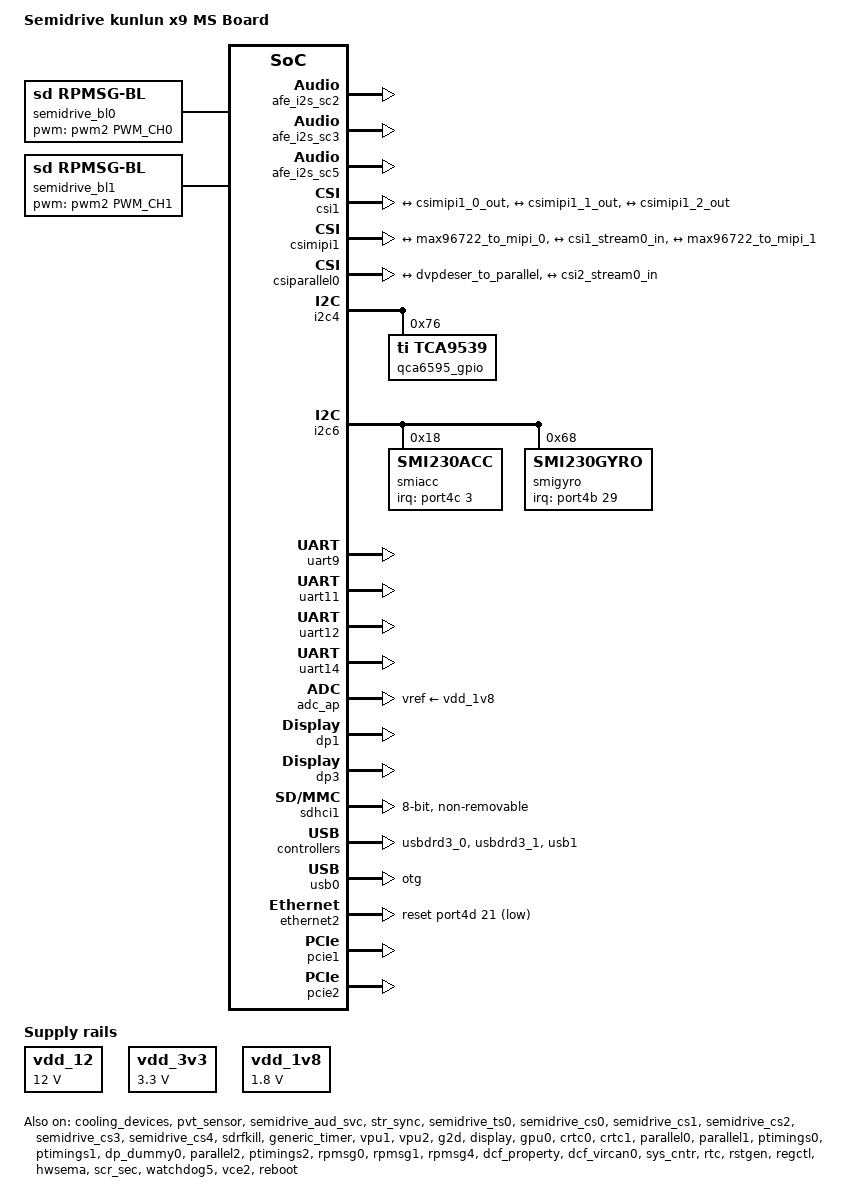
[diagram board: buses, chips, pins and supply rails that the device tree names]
/*
 * Semidrive kunlun platform DTS file
 *
 * Copyright (C) 2019, Semidrive  Communications Inc.
 *
 * This file is licensed under a dual GPLv2 or X11 license.
 */

/dts-v1/;

#include "x9_high-plus_ecockpitV2.dtsi"
#include "x9_high-plus_ms_ivi-clk-ctrl.dtsi"
#include "lcd-timings.dtsi"
#include <dt-bindings/pinctrl/pins-sdx9.h>
#include <dt-bindings/memmap/x9_high-plus/projects/ms_serdes/image_cfg.h>
#include <dt-bindings/memory/sdrv_ion.h>
#include <dt-bindings/rpmsg/sd,x9hp-ap1.h>
#include "x9-service.dtsi"
#include <dt-bindings/backlight/sdrv_backlight.h>
#include <dt-bindings/media/sdrv_csi.h>
#include <dt-bindings/memmap/mem_share.h>

/ {
	model = "Semidrive kunlun x9 MS Board";

	compatible = "semidrive,kunlun";compatibel

	aliases {
		serial0 = &uart14;
		serial1 = &uart11;
		serial2 = &uart12;
		ethernet2 = &ethernet2;
	};

	memory@50000000 {
		device_type = "memory";
		reg = <HIGH32(AP1_REE_MEMBASE + DTB_MEMSIZE) LOW32(AP1_REE_MEMBASE + DTB_MEMSIZE) HIGH32(AP1_KERNEL_MEMSIZE) LOW32(AP1_KERNEL_MEMSIZE) \
		       HIGH32(AP1_2ND_MEMBASE) LOW32(AP1_2ND_MEMBASE) HIGH32(AP1_2ND_MEMSIZE) LOW32(AP1_2ND_MEMSIZE) \
                       HIGH32(AP2_IMAGES_MEMBASE) LOW32(AP2_IMAGES_MEMBASE) HIGH32(AP2_IMAGES_MEMSIZE) LOW32(AP2_IMAGES_MEMSIZE)>;
	};

	reserved-memory {
		#address-cells = <2>;
		#size-cells = <2>;
		ranges;

		crashdump {
			/* reserve preloader mem for crashdump */
			compatibel = "crashdump";
			reg = <HIGH32(AP1_PRELOADER_MEMBASE) LOW32(AP1_PRELOADER_MEMBASE) 0 AP1_PRELOADER_MEMSIZE>;
		};

		ramoops {
			compatible = "ramoops";
			reg = <HIGH32(AP1_BOARD_RAMDISK_MEMBASE + AP1_BOARD_RAMDISK_MEMSIZE + 0x1000000)
				LOW32(AP1_BOARD_RAMDISK_MEMBASE + AP1_BOARD_RAMDISK_MEMSIZE + 0x1000000) 0x0 0x100000>;
			record-size = <0x60000>;
			console-size = <0x40000>;
			ftrace-size = <0x20000>;
			pmsg-size = <0x40000>;
		};

		/* Default Common CMA Pool */
		/* QUIRK: Must be kept in the lower 4096 MiBs of DRAM banks for VE */
		linux,cma {
			compatible = "shared-dma-pool";
			reusable;
			size = <0x0 AP1_CMASIZE>; /* 1G */
			/* 4GB maximum in case of 32-bit only capable devices */
			alloc-ranges = <0x0 0x0 0x0 0xffffffff>;
			linux,cma-default;
		};

		rproc_0_safety: rproc@0 {
			compatible = "shared-dma-pool";
			no-map;
			reg = <0x0 RPMSG0_MEM_POOL_BASE 0x0 RPMSG0_MEM_POOL_SIZE>;
		};

		rproc_1_secure: rproc@1 {
			compatible = "shared-dma-pool";
			no-map;
			reg = <0x0 RPMSG1_MEM_POOL_BASE 0x0 RPMSG1_MEM_POOL_SIZE>;
		};

		rproc_ap: rproc@4 {
			compatible = "shared-dma-pool";
			no-map;
			reg = <0x0 RPMSG3_MEM_POOL_BASE 0x0 RPMSG3_MEM_POOL_SIZE>;
		};

	};

	chosen {
		bootargs = "root=/dev/ram0 rootfstype=ramfs highres=1  earlycon loglevel=4 console=ttyS0,115200n8 fbcon=map:1 nr_cpus=6 androidboot.mode=normal androidboot.selinux=permissive androidboot.debuggable=1 androidboot.dm_verity=disable androidboot.vdsp=disable psplash=false init=/init logbuf.console=ap1";
		stdout-path = "serial0";
		linux,initrd-start = <AP1_BOARD_RAMDISK_MEMBASE>;
		linux,initrd-end   = <AP1_BOARD_RAMDISK_MEMSIZE>;
	};

	vdd_12: fixed-vdd_12 {
		compatible = "regulator-fixed";
		regulator-name = "vdd_12v";
		regulator-min-microvolt = <12000000>;
		regulator-max-microvolt = <12000000>;
	};

	vdd_3v3: fixed-vdd_3v3 {
		compatible = "regulator-fixed";
		regulator-name = "vdd_3v3";
		regulator-min-microvolt = <3300000>;
		regulator-max-microvolt = <3300000>;
	};

	vdd_1v8: fixed-vdd_1v8 {
		compatible = "regulator-fixed";
		regulator-name = "vdd_1v8";
		regulator-min-microvolt = <1800000>;
		regulator-max-microvolt = <1800000>;
	};

//	sound_ak7738: sound@ak7738 {
//		compatible = "semidrive,x9-ms-mach";
//		status = "okay";
//	};
	sound_saf776d: sound@saf776d {
		compatible = "semidrive,x9-ms-mach";
		status = "okay";
	};

	sound_tlv320aic23: sound@tlv320aic23 {
		compatible = "semidrive,x9-ref-tlv320aic23";
		semidrive,audio-codec = <&tlv320aic23_ms>;
		semidrive,afe-i2s = <&afe_i2s_sc2>;
		semidrive,jack-gpio = <&port4b 29 0>; //SOC_GPIO_C13_HP_DET
		status = "disabled";
	};

	semidrive_bl0: panel0-backlight {
		compatible = "sd,rpmsg-bl"; /*"sd,rpmsg-bl" for rpmsg; "pwm-backlight" for native*/
		bl_screen-id = /bits/ 32 <0>;
	//	bl_screen-id = /bits/ 32 <1>;
		pwms = <&pwm2 PWM_CH0 PWM_FREQUENCY PWM_POLARITY_INVERSED>;
		brightness-levels = <0 1 2 3 4 5 6 7 8 9 10 11 12 13 14 15 16
							 17 18 19 20 21 22 23 24 25 26 27 28 29 30
							 31 32 33 34 35 36 37 38 39 40 41 42 43 44
							 45 46 47 48 49 50 51 52 53 54 55 56 57 58
							 59 60 61 62 63 64 65 66 67 68 69 70 71 72
							 73 74 75 76 77 78 79 80 81 82 83 84 85 86
							 87 88 89 90 91 92 93 94 95 96 97 98 99 100>;
		default-brightness-level = <70>;
		status = "okay";
	};

	semidrive_bl1: panel1-backlight {
		compatible = "sd,rpmsg-bl"; /*"sd,rpmsg-bl" for rpmsg; "pwm-backlight" for native*/
		bl_screen-id = /bits/ 32 <1>;
	//	bl_screen-id = /bits/ 32 <2>;
		pwms = <&pwm2 PWM_CH1 PWM_FREQUENCY PWM_POLARITY_INVERSED>;
		brightness-levels = <0 1 2 3 4 5 6 7 8 9 10 11 12 13 14 15 16
							 17 18 19 20 21 22 23 24 25 26 27 28 29 30
							 31 32 33 34 35 36 37 38 39 40 41 42 43 44
							 45 46 47 48 49 50 51 52 53 54 55 56 57 58
							 59 60 61 62 63 64 65 66 67 68 69 70 71 72
							 73 74 75 76 77 78 79 80 81 82 83 84 85 86
							 87 88 89 90 91 92 93 94 95 96 97 98 99 100>;
		default-brightness-level = <70>;
		status = "okay";
	};

	str_power_key: str_power_key {
		compatible = "sd,str-power-key";
		reg = <0x0 (SAF_AP1_MEMBASE+0x10000000+0x100000) 0x0 0x1000>;
		status = "okay";
	};

	logbuf {
		compatible = "semidrive, logbuf";
		reg = <0x0 (SEC_MEMBASE + 0x10000000) 0x0 0x200000>;
		regctl = <&regctl SDRV_REG_EXCEPTION>;
		status = "okay";
	};
};

&cooling_devices {
	status = "okay";
};

&pvt_sensor {
	status = "okay";
};

&semidrive_aud_svc {
	major = <91>;
	status = "okay";
};

&pwm2 {
	sd,playback-num-chan = <2>;
	#pwm-cells = <3>;
	status = "disabled";
};

&str_sync {
	host = <1>;
	status = "okay";
};

&semidrive_ts0 {
	status = "okay";
};
&semidrive_ts1 {
	status = "disabled";
};

&semidrive_cs0 {
	dev_id = /bits/ 16 <0>;
	status = "okay";
};

&semidrive_cs1 {
	dev_id = /bits/ 16 <1>;
	status = "okay";
};

&semidrive_cs2 {
	dev_id = /bits/ 16 <2>;
	status = "okay";
};

&semidrive_cs3 {
	dev_id = /bits/ 16 <3>;
	status = "okay";
};

&semidrive_cs4 {
	dev_id = /bits/ 16 <8>;
	status = "okay";
};

&dmac4 {
	status = "okay";
};

&dmac5 {
	status = "okay";
};

&dmac6 {
	status = "okay";
};

&afe_i2s_sc2{
	dmas = <&dmac4 X9_DMA_SLV_ID_I2S_SC3_TX>, <&dmac4 X9_DMA_SLV_ID_I2S_SC3_RX>;
	dma-names = "tx", "rx";
	status = "okay";
};

&afe_i2s_sc3{
	dmas = <&dmac4 X9_DMA_SLV_ID_I2S_SC4_TX>, <&dmac4 X9_DMA_SLV_ID_I2S_SC4_RX>;
	dma-names = "tx", "rx";
	sdrv,tdm-use-rx-last-slot;
	status = "okay";
};

&afe_i2s_sc5{
	dmas = <&dmac4 X9_DMA_SLV_ID_I2S_SC6_TX>, <&dmac4 X9_DMA_SLV_ID_I2S_SC6_RX>;
	dma-names = "tx", "rx";
	status = "okay";
};
/*
&afe_i2s_sc7{
	dmas = <&dmac4 X9_DMA_SLV_ID_I2S_SC8_TX>, <&dmac4 X9_DMA_SLV_ID_I2S_SC8_RX>;
	dma-names = "tx", "rx";
	status = "okay";
};
*/
&rfkill {
	bt_en = <&port4c 12 0>;
};

&sdrfkill {
        bluetooth-en-gpio = <&qca6595_gpio 3 GPIO_ACTIVE_HIGH>;
        wlan-en-gpio = <&qca6595_gpio 0 GPIO_ACTIVE_HIGH>;

        status = "okay";
};

&csi1 {
	mbus-type = "mipi-csi2";
	pclk-sample = <1>;
	status = "okay";
	skip_frame = <4>;
	ports {
		csi1_stream0: port@0 {
			csi1_stream0_in: endpoint@0 {
				remote-endpoint = <&csimipi1_0_out>;
			};
		};
		csi1_stream1: port@1 {
			csi1_stream1_in: endpoint@0 {
				remote-endpoint = <&csimipi1_1_out>;
			};
		};
		csi1_stream2: port@2 {
			csi1_stream2_in: endpoint@0 {
				remote-endpoint = <&csimipi1_2_out>;
			};
		};
		csi1_stream3: port@3 {
			csi1_stream3_in: endpoint@0 {
				remote-endpoint = <&csimipi1_3_out>;
			};
		};
	};
};
&csi2 {
	mbus-type = "parallel";
	pclk-sample = <0>;
	status = "disabled";

	ports {
		csi2_stream0: port@0 {
			csi2_stream0_in: endpoint@0 {
				remote-endpoint = <&csiparalle0_out>;
			};
		};

	};
};

&csimipi1 {
	status = "okay";
	lanerate = <1500000000>;
	lanecount = <4>;
	hsa = <10>;
	hbp = <20>;
	hsd = <0x60>;
	output-type = <0x1e>;

	ports {
		#address-cells = <1>;
		#size-cells = <0>;

		port@0 {
			#address-cells = <1>;
			#size-cells = <0>;
			reg = <0>;
			csimipi1_0_in: endpoint@0 {
				remote-endpoint = <&max96722_to_mipi_0>;
				reg = <0>;
			};
			csimipi1_0_out: endpoint@1 {
				remote-endpoint = <&csi1_stream0_in>;
				reg = <0>;
			};
		};
		port@1 {
			#address-cells = <1>;
			#size-cells = <0>;
			reg = <1>;
			csimipi1_1_in: endpoint@0 {
				remote-endpoint = <&max96722_to_mipi_1>;
				reg = <1>;
			};
			csimipi1_1_out: endpoint@1 {
				remote-endpoint = <&csi1_stream1_in>;
				reg = <1>;
			};
		};
		port@2 {
			#address-cells = <1>;
			#size-cells = <0>;
			reg = <2>;
			csimipi1_2_in: endpoint@0 {
				remote-endpoint = <&max96722_to_mipi_2>;
				reg = <2>;
			};
			csimipi1_2_out: endpoint@1 {
				remote-endpoint = <&csi1_stream2_in>;
				reg = <2>;
			};
		};
		port@3 {
			#address-cells = <1>;
			#size-cells = <0>;
			reg = <3>;
			csimipi1_3_in: endpoint@0 {
				remote-endpoint = <&max96722_to_mipi_3>;
				reg = <3>;
			};
			csimipi1_3_out: endpoint@1 {
				remote-endpoint = <&csi1_stream3_in>;
				reg = <3>;
			};
		};
	};
};
&csiparallel0 {
	status = "okay";
	#address-cells = <1>;
	#size-cells = <0>;

	port {
		#address-cells = <1>;
		#size-cells = <0>;
		reg = <0>;
		csiparallel0_in: endpoint@0 {
			remote-endpoint = <&dvpdeser_to_parallel>;
		};

		csiparallel0_out: endpoint@1 {
			remote-endpoint = <&csi2_stream0_in>;
		};
	};
};


&i2c4 {
       status = "okay";

       qca6595_gpio: gpio@76 {
                compatible = "ti,tca9539";
                reg = <0x76>;
                #gpio-cells = <2>;
                gpio-controller;
       };
};

&i2c5 {
        status = "disabled";

		ak7738:codec@1c{
			compatible = "akm,ak7738";
			reg = <0x1c>;
			ak7738,pdn-gpio = <&port4b 26 0>;
		};

};

&i2c6 {
        status = "okay";
		smiacc:smiacc@18 {
			compatible = "SMI230ACC";
			reg = <0x18>;
			//ACC_INT -> GPIO.IO67 GPIO_D3
			gpio_irq = <&port4c 3 GPIO_ACTIVE_HIGH>;
							status = "okay";
		};
		smigyro:smiacc@68 {
			compatible = "SMI230GYRO";
			reg = <0x68>;
			//GYRO_INT -> GPIO.IO61 GPIO_C13
							gpio_irq = <&port4b 29 GPIO_ACTIVE_HIGH>;
							status = "okay"
		}
};

&i2c7 {
        status = "disabled";
};

&i2c9 {
	status = "disabled";

	tlv320aic23_ms: codec@1a {
        compatible = "ti,tlv320aic23";
		reg = <0x1a>;
	};

	cam_gpios: gpio@74 {
		compatible = "ti,tca9539";
		reg = <0x74>;
		#gpio-cells = <2>;
		gpio-controller;
	};

	max96722s:max96722s@6b {
		compatible = "sdrv,semidrive_deser";
		reg = <0x6b>;
		width = <1920>;
		height = <1080>;
		pwdn-gpios = <&cam_gpios 2 0>;
		poc-gpios = <&cam_gpios 12 0>;
		poc_addr = <0x29>;
		ser_addr = <0x40>;
		cam_module = "max96722_sengyun_IMX390c_5200_GMSL2_1080p";

		ports {
			#address-cells = <1>;
		        #size-cells = <0>;
			port@0 {
				#address-cells = <1>;
				#size-cells = <0>;
				reg = <0>;
				remap_ser_addr = <0x48>;
				max96722_to_mipi_0: endpoint@0 {
					remote-endpoint = <&csimipi1_0_in>;
				};
			};
			port@1 {
				#address-cells = <1>;
				#size-cells = <0>;
				reg = <1>;
				remap_ser_addr = <0x49>;
				max96722_to_mipi_1: endpoint@0 {
					remote-endpoint = <&csimipi1_1_in>;
				};
			};
			port@2 {
				#address-cells = <1>;
				#size-cells = <0>;
				reg = <2>;
				remap_ser_addr = <0x4a>;
				max96722_to_mipi_2: endpoint@0 {
					remote-endpoint = <&csimipi1_2_in>;
				};
			};
			port@3 {
				#address-cells = <1>;
				#size-cells = <0>;
				reg = <3>;
				remap_ser_addr = <0x4b>;
				max96722_to_mipi_3: endpoint@0 {
					remote-endpoint = <&csimipi1_3_in>;
				};
			};
		};
	};

	max96706:max96706@78 {
		compatible = "sdrv,semidrive_deser";
		clock-frequency = <24000000>;
		#address-cells = <1>;
		#size-cells = <0>;
		reg = <0x78>;
		width = <1280>;
		height = <720>;
		ser_addr = <0x40>;
		pwdn-gpios = <&port4c 19 0>;
		poc-gpios = <&cam_gpios 6 0>;
		gpi-gpios = <&cam_gpios 9 0>;
		cam_module = "max96706_fengjing_MC163_MAX96705_720p";
		port {
			#address-cells = <1>;
			#size-cells = <0>;
			reg = <0>;
			remap_ser_addr = <0x4c>;
			dvpdeser_to_parallel: endpoint@0 {
				remote-endpoint = <&csiparallel0_in>;
			};
		};
	};
};

&i2c10 {
        status = "disabled";
	gt9271_11_j35:gt9271_11_j35@5d {
		//pinctrl-names = "default";
		//pinctrl-0 = <&pinctrl_gpiotouch_mipi>;
		compatible = "goodix,gt9271";
		irq-gpios = <&port4e 17 0>;	/*io97*/
		reset-gpios = <&tp_gpio 2 0>;	/*index 2*/
		reg = <0x5d>;
	};
};

&i2c11 {
	status = "disabled";

	ext_gpio74: gpio@74 {
		compatible = "ti,tca9539";
		reg = <0x74>;
		#gpio-cells = <2>;
		gpio-controller;
	};
	ext_gpio: gpio@75 {
		compatible = "ti,tca9539";
		reg = <0x75>;
		#gpio-cells = <2>;
		gpio-controller;
	};
	tp_gpio: gpio@76 {
		compatible = "ti,tca9539";
		reg = <0x76>;
		#gpio-cells = <2>;
		gpio-controller;
	};
};

&i2c13 {
        status = "disabled";

        serdes_gt9xx_14_j34:touch@5d {
		compatible = "sdrv,ds947_ds948_gt9xx";
		irq-gpios = <&port4e 0 0>;	/*io80*/
		reset-gpios = <&ext_gpio 1 0>;	/*index 1*/
		reg = <0x5d>;
		dev_type = <0>;	/* 0: main device, 1: aux device */
		addr_ds947 = <0x1a>;
		addr_ds948 = <0x2c>;
	};
};

&i2c14 {
	status = "disabled";

	gt9271_15_j33:touch@14 {
		//pinctrl-names = "default";
		//pinctrl-0 = <&pinctrl_gpiotouch_lvds>;
		compatible = "goodix,gt9271";
		irq-gpios = <&port4e 3 0>;	/*io83*/
		reset-gpios = <&ext_gpio 7 0>;		/*index 7*/
		reg = <0x14>;
		dev_type = <1>;	/* 0: main device, 1: aux device */
	};
};

&i2c15 {
	status = "disabled";

	sync_enable = <1>;
	serdes_gt9xx_16_j35:touch@5d {
		compatible = "sdrv,ds941_ds948_gt9xx";
		irq-gpios = <&port4e 16 0>;	/*io96*/
		reset-gpios = <&tp_gpio 1 0>;	/*index 1*/
		reg = <0x5d>;
		dev_type = <0>;	/* 0: main device, 1: aux device */
		addr_ds941 = <0x0c>;
		addr_ds948 = <0x2c>;
		irq_channel = <3>;
		reset_channel = <2>;
	};

	serdes_gt9xx_16_j35a:touch@14 {
		compatible = "sdrv,ds941_ds948_gt9xx";
		irq-gpios = <&port4e 17 0>;	/*io97*/
		reset-gpios = <&tp_gpio 2 0>;	/*index 2*/
		reg = <0x14>;
		dev_type = <1>;	/* 0: main device, 1: aux device */
		addr_ds941 = <0x0d>;
		addr_ds948 = <0x3c>;
		irq_channel = <3>;
		reset_channel = <2>;
	};
};

&spi4 {
	status = "disabled";
};

&spi5 {
	status = "disabled";
};

&spi6 {
	status = "disabled";
};

&spi7 {
	status = "disabled";
};

&uart9 {
	status = "okay";
};

&uart11 {
       status = "okay";
};

&uart12 {
	status = "okay";
};

&uart14 {
	dmas = <&dmac4 X9_DMA_SLV_ID_UART15_TX>, <&dmac4 X9_DMA_SLV_ID_UART15_RX>;
	dma-names = "tx", "rx";
	status = "okay";
};

&generic_timer {
	status = "okay";
};

&adc_ap {
	resolution_value = <0x03>; /*ADC_6_BITS_E0 = 0x00 , ADC_8_BITS_E1 = 0x01 , ADC_10_BITS_E2 = 0x02 , ADC_12_BITS_E3 = 0x03*/
	clksrc_sel = <0x00>; /*ADC_SRC_CLK_ALT_E0 = 0x00 , ADC_SRC_CLK_PCLK_E1 = 0x01 , ADC_SRC_CLK_EXT_E2 = 0x02*/
	clk_value = <24000000>;
	channel_num = <4>;
	use-adc-fifo;
	vref-supply = <&vdd_1v8>;
	status = "okay";
};

&vpu1 {
	resets = <&rstgen RSTGEN_MODULE_VPU1>;
	reset-names = "vpu-reset";
	status = "okay";
};

&vpu2 {
	resets = <&rstgen RSTGEN_MODULE_VPU2>;
	reset-names = "vpu-reset";
	status = "okay";
};

&g2d {
	status = "okay";
};

&display {
	sdriv,crtc = <&crtc0 &crtc1 &crtc2>;
	status = "okay";
};

&gpu0 {
	status = "okay";
};

&dp1 {
	status = "okay";
};

&dp3 {
	status = "okay";
};

&crtc0 {
	dpc-master = <&dp1>;
	status = "okay";
};

&crtc1 {
	dpc-master = <&dp3>;
	status = "okay";
};

&parallel0 {
	status = "okay";
};

&parallel1 {
	status = "okay";
};

&dtimings0 {
	native-mode = <&hsd_fhd1920x1080_al_60>;
};

&dtimings1 {
	native-mode = <&hsd_fhd1920x720_1_60>;
};

&ptimings0 {
	status = "okay";
};

&ptimings1 {
	status = "okay";
};

&dp_dummy0 {
	status = "okay";
};

&crtc2 {
	dpc-master = <&dp_dummy0>;
	status = "disabled";
};

&parallel2 {
	connector-mode = <8>;
	status = "okay";
};

&dtimings2 {
	native-mode = <&hsd_fhd1920x720_2>;
};

&ptimings2 {
	status = "okay";
};

&gpio4 {
	//pinctrl-names = "default";
	//pinctrl-0 = <&pinctrl_gpiotouch_lvds &pinctrl_gpiotouch_mipi>;
	status = "okay";
};

&sdhci1 {
	bus-width = <8>;
	non-removable;
	no-sdio;
	no-sd;
	card-is-emmc;
	disable-wp;
	cap-mmc-highspeed;
	keep-power-in-suspend;
	mmc-ddr-1_8v;
	mmc-hs200-1_8v;
	mmc-hs400-1_8v;
	mmc-hs400-enhanced-strobe;
	status = "okay";
};

&sdhci3 {
	#clock-cells = <1>;
	clocks = <&EMMC3>;
	clock-names = "core";
	max-frequency = <200000000>;
	cd-gpios = <&port4a 2 GPIO_ACTIVE_LOW>;
	bus-width = <4>;
	no-mmc;
	no-sdio;
	cap-sd-highspeed;
	sd-uhs-sdr104;
	disable-wp;
	keep-power-in-suspend;
	status = "disabled";
};

&mbox {
	status = "okay";
};

&mbox_test {
	status = "okay";
};

&rpmsg0 {
	memory-region = <&rproc_0_safety>;
	reg = <0x0 RPMSG0_MEM_HEAD_BASE 0x0 RPMSG0_MEM_HEAD_SIZE>;
	status = "okay";
};

&rpmsg1 {
	memory-region = <&rproc_1_secure>;
	reg = <0x0 RPMSG1_MEM_HEAD_BASE 0x0 RPMSG1_MEM_HEAD_SIZE>;
	status = "okay";
};

&rpmsg4 {
	memory-region = <&rproc_ap>;
	reg = <0x0 RPMSG3_MEM_HEAD_BASE 0x0 RPMSG3_MEM_HEAD_SIZE>;
	status = "okay";
};

&ipcc0 {
	status = "okay";
};

&ipcc1 {
	status = "okay";
};

&ipcc4 {
	rpmsg-mtu  = <1024>;
	status = "okay";
};

&dcf_property {
	status = "okay";
};

&dcf_vircan0 {
	status = "okay";
};

&sys_cntr {
	status = "okay";
};

&smmu {
	status = "disabled";
};

&rtc {
	status = "okay";
};

&usbdrd3_0 {
	status = "okay";
};

&usb0 {
	dr_mode = "otg";
	maximum-speed = "super-speed";
	status = "okay";
};

&usbdrd3_1 {
	status = "okay";
};

&usb1 {
	status = "okay";
};

&eth_phy2 {
	compatible = "ethernet-phy-ieee802.3-c45";
	dr_mode = "slave";
	maximum-speed = "100M-speed";
	reg = <7>;
/*
	compatible = "ethernet-phy-id0022.1620", "ethernet-phy-ieee802.3-c22";
	reg = <0>;
	rxc-skew-ps = <1860>;
	rxdv-skew-ps = <60>;
	rxd0-skew-ps = <60>;
	rxd1-skew-ps = <60>;
	rxd2-skew-ps = <60>;
	rxd3-skew-ps = <60>;
*/
};

&ethernet2 {
	mac-address = [00 72 87 12 34 56];
	snps,reset-gpio = <&port4d 21 GPIO_ACTIVE_LOW>;
	snps,reset-active-low;
	snps,reset-delays-us = <0 20000 100000>;
	status = "okay";
};

&rstgen {
	reg = <0x0 0x38467000 0x0 0x1000>,	/* vpu1 */
		<0x0 0x38468000 0x0 0x1000>,	/* vpu2 */
		<0x0 0x38490000 0x0 0x1000>,	/* gpu1 core */
		<0x0 0x38491000 0x0 0x1000>,	/* gpu1 ss */
		<0x0 0x38461000 0x0 0x1000>,	/* GIC4 */
		<0x0 0x38455000 0x0 0x1000>,	/* cpu1 core0 warm */
		<0x0 0x38456000 0x0 0x1000>,	/* cpu1 core1 warm */
		<0x0 0x38457000 0x0 0x1000>,	/* cpu1 core2 warm */
		<0x0 0x38458000 0x0 0x1000>,	/* cpu1 core3 warm */
		<0x0 0x38459000 0x0 0x1000>,	/* cpu1 core4 warm */
		<0x0 0x3845a000 0x0 0x1000>,	/* cpu1 core5 warm */
		<0x0 0x3845b000 0x0 0x1000>,	/* cpu1 scu warm */
		<0x0 0x3846d000 0x0 0x1000>,	/* cpu1 ss */
		<0x0 0x38407000 0x0 0x2000>;	/* cpu1 all core */
	rstgen_resource = <
		RSTGEN_MODULE_VPU1
		RSTGEN_MODULE_VPU2
		RSTGEN_MODULE_GPU1_CORE
		RSTGEN_MODULE_GPU1_SS
		RSTGEN_MODULE_GIC4
		RSTGEN_MODULE_CPU1_CORE0_WARM
		RSTGEN_MODULE_CPU1_CORE1_WARM
		RSTGEN_MODULE_CPU1_CORE2_WARM
		RSTGEN_MODULE_CPU1_CORE3_WARM
		RSTGEN_MODULE_CPU1_CORE4_WARM
		RSTGEN_MODULE_CPU1_CORE5_WARM
		RSTGEN_MODULE_CPU1_SCU_WARM
		RSTGEN_MODULE_CPU1_SS
		RSTGEN_CORE_CPU1_ALL
		>;
	status = "okay";
};

&regctl {
	reg = <0x0 0x38415000 0x0 0x1000>,
		<0x0 0x38418000 0x0 0x1000>,
		<0x0 0x38419000 0x0 0x1000>,
		<0x0 0x3841a000 0x0 0x1000>,
		<0x0 0x3841b000 0x0 0x1000>;
	reg-names = "SDRV_REG_REMAP",
			"SDRV_REG_BOOTREASON",
			"SDRV_REG_HWID",
			"SDRV_REG_STATUS",
			"SDRV_REG_EXCEPTION";
	status = "okay";
};

&ion {
	status = "disabled";
};

&hwsema {
        status = "okay";
};

&scr_sec {
        status = "okay";
};

&watchdog5 {
	wdt,auto-run = "false";
	status = "okay";
};

&pcie1 {
	status = "okay";
};

&pcie2 {
        status = "okay";
};

&vce2 {
   /*
 	* op-mode options:
 	* bit 0: rng enable(1) or disable(0)
 	* bit 1: ce enable(1) or disable(0)
 	*/
 	op-mode = <3>;
	status = "okay";
};

&reboot {
	status = "okay";
};
